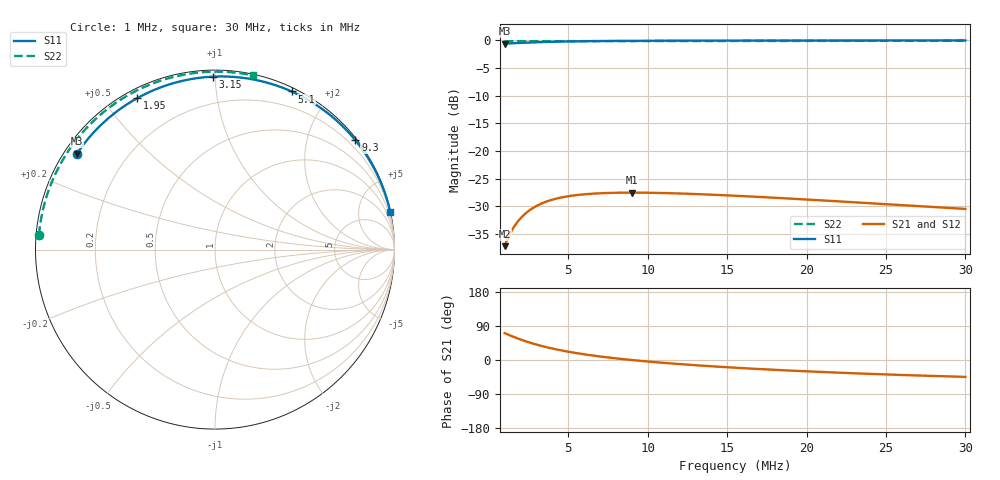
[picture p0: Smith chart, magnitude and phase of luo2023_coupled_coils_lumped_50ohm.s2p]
! CuraLink DERIVED nominal two-port; generated from Luo et al. 2023 table values
! NOT measured Touchstone data and NOT supplied by the paper authors
! Model: constant series R plus ideal coupled L; no parasitic C, SRF, skin/proximity variation, fixtures, matching, rectifier, or misalignment model
! Nominal geometry: 13.56 MHz, 40 mm TX, 10 mm RX, 10 mm coaxial separation, 1 oz copper, about 0.8 mm FR-4
! L_TX=2.490000e-06 H R_TX=1.800000 ohm L_RX=3.300000e-07 H R_RX=0.399000 ohm K=0.0662000 M=6.000875726092e-08 H
! Ports are directly across the two coil models; no matching capacitors are included
! Intended for nominal linear matching checks near 13.56 MHz; use the explicit R-L-M ADS model for nonlinear rectifier work
# MHz S RI R 50
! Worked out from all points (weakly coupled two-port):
!   582 points, 1 MHz to 30 MHz, reference 50 ohm
!   highest |S21| = -27.52 dB at 9 MHz (marker M1); lowest = -37.2 dB at 1 MHz (marker M2)
!   lowest |S11| = -0.6 dB at 1 MHz (marker M3), VSWR 30.45, Z = 1.8 + j15.6 ohm
!   |S11| at or under -10 dB: nowhere
!   |S22| runs from -0.1 to -0.1 dB; largest |S21 - S12| = 1e-15
!   S11 on the Smith chart (normalised r, x): 1 MHz: 0.04, +0.31; 1.95 MHz: 0.04, +0.61; 3.15 MHz: 0.04, +0.99; 5.1 MHz: 0.04, +1.60; 9.3 MHz: 0.04, +2.91; 30 MHz: 0.06, +9.36
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1  -0.769 0.5343  0.00453 0.013  0.00453 0.013  -0.9807 0.0815
1.15  -0.7226 0.5983  0.00584 0.0145  0.00584 0.0145  -0.9796 0.0936
1.55  -0.5833 0.7411  0.00973 0.0177  0.00973 0.0177  -0.9759 0.1259
1.95  -0.4332 0.8439  0.0139 0.0198  0.0139 0.0198  -0.9712 0.1579
2.5  -0.2294 0.928  0.0195 0.021  0.0195 0.021  -0.963 0.2015
3.15  -0.0134 0.9635  0.0254 0.0206  0.0254 0.0206  -0.951 0.2522
3.6  0.1152 0.9613  0.0288 0.0196  0.0288 0.0196  -0.9412 0.2867
4.1  0.2377 0.943  0.032 0.018  0.032 0.018  -0.9289 0.3244
4.6  0.3408 0.9147  0.0345 0.0161  0.0345 0.0161  -0.9152 0.3613
5.1  0.4271 0.881  0.0366 0.0142  0.0366 0.0142  -0.9003 0.3973
5.85  0.531 0.8269  0.0389 0.0112  0.0389 0.0112  -0.8755 0.4497
6.5  0.6016 0.7802  0.0402 0.00861  0.0402 0.00861  -0.8518 0.4933
7.25  0.6661 0.729  0.0413 0.0058  0.0413 0.0058  -0.8224 0.5413
9  0.769 0.6252  0.0421 -2.82e-05  0.0421 -2.82e-05  -0.7459 0.6436
9.3  0.7819 0.6097  0.0421 -0.000923  0.0421 -0.000923  -0.7318 0.6597
10.7  0.8304 0.545  0.0416 -0.00471  0.0416 -0.00471  -0.6636 0.729
13.05  0.8823 0.4602  0.0397 -0.0098  0.0397 -0.0098  -0.5426 0.8243
15.5  0.9148 0.3945  0.037 -0.0137  0.037 -0.0137  -0.4137 0.8972
17.85  0.9349 0.3464  0.0342 -0.0164  0.0342 -0.0164  -0.2926 0.9447
20.35  0.9494 0.3063  0.0312 -0.0184  0.0312 -0.0184  -0.1705 0.9752
25.2  0.9666 0.2497  0.0258 -0.0205  0.0258 -0.0205  0.0394 0.991
30  0.9762 0.2109  0.0214 -0.021  0.0214 -0.021  0.2094 0.9709
